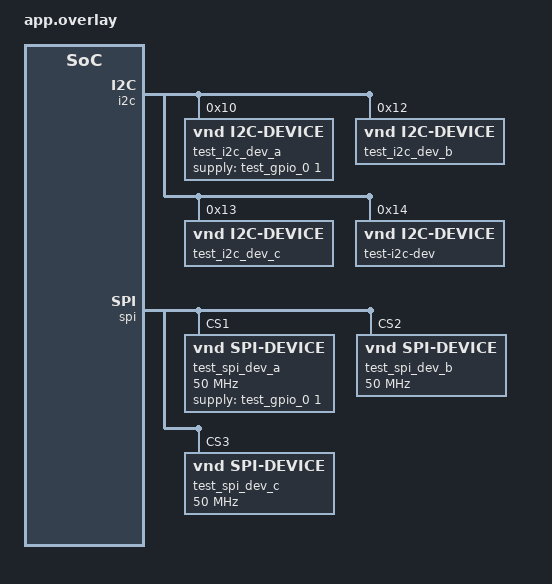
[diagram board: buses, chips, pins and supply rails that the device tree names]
/*
 * Copyright (c) 2020 Nordic Semiconductor ASA
 *
 * SPDX-License-Identifier: Apache-2.0
 *
 * Application overlay for testing the devicetree.h API.
 *
 * Names in this file should be chosen in a way that won't conflict
 * with real-world devicetree nodes, to allow these tests to run on
 * (and be extended to test) real hardware.
 */

/ {
	test {
		#address-cells = <0x1>;
		#size-cells = <0x1>;

		test_gpio_0: gpio@ffff {
			gpio-controller;
			#gpio-cells = <0x2>;
			compatible = "vnd,gpio-device";
			status = "okay";
			reg = <0xffff 0x1000>;
		};

		i2c: i2c@11112222 {
			#address-cells = <1>;
			#size-cells = <0>;
			compatible = "vnd,i2c";
			status = "okay";
			reg = <0x11112222 0x1000>;

			test_i2c_dev_a: test-i2c-dev@10 {
				compatible = "vnd,i2c-device";
				status = "okay";
				reg = <0x10>;
				supply-gpios = <&test_gpio_0 1 0>;
			};

			test_i2c_dev_b: test-i2c-dev@12 {
				#address-cells = <1>;
				#size-cells = <0>;
				compatible = "vnd,i2c-device";
				status = "okay";
				reg = <0x12>;
			};

			test_i2c_dev_c: test-i2c-dev@13 {
				compatible = "vnd,i2c-device";
				reg = <0x13>;
				status = "okay";
			};

			test-i2c-dev@14 {
				compatible = "vnd,i2c-device";
				status = "okay";
				reg = <0x14>;
			};
		};

		spi: spi@44442222 {
			compatible = "vnd,spi";
			#address-cells = <1>;
			#size-cells = <0>;
			reg = <0x44442222 0x1000>;
			status = "okay";

			test_spi_dev_a: test-spi-dev@1 {
				compatible = "vnd,spi-device";
				status = "okay";
				reg = <0x1>;
				spi-max-frequency = <50000000>;
				supply-gpios = <&test_gpio_0 1 0>;
			};

			test_spi_dev_b: test-spi-dev@2 {
				compatible = "vnd,spi-device";
				status = "okay";
				spi-max-frequency = <50000000>;
				reg = <0x2>;
			};

			test_spi_dev_c: test-spi-dev@3 {
				compatible = "vnd,spi-device";
				reg = <0x3>;
				spi-max-frequency = <50000000>;
				status = "okay";
			};

		};
	};
};
